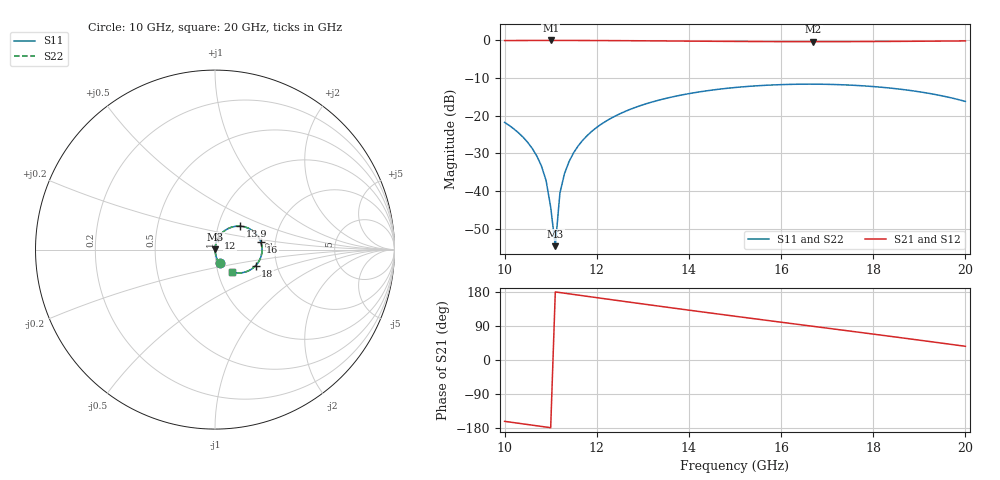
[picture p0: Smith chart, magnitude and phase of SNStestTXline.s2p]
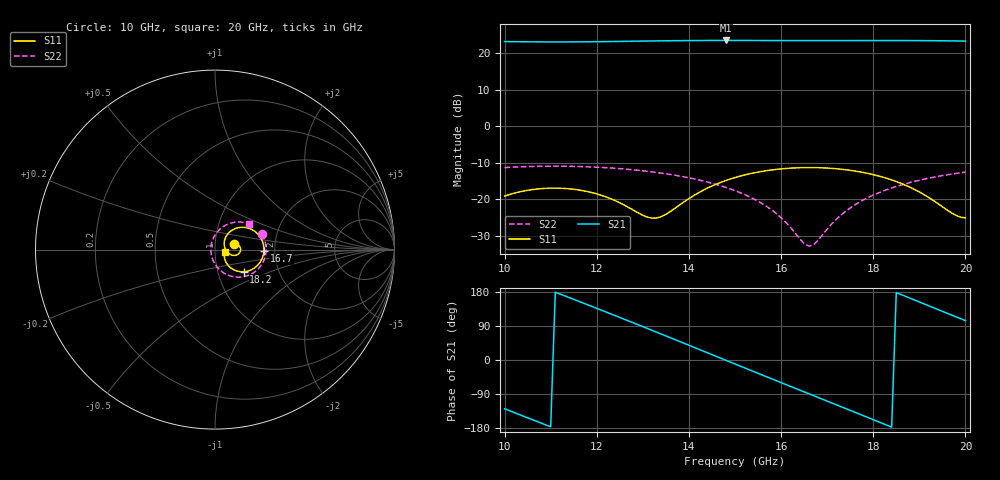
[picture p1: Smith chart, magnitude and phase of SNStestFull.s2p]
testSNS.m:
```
% This script runs a test to make sure that the SNS software works 
% correctly.
%
% Copyright Oliver King, June 2010
% ogk@astro.caltech.edu
%

clear all

%%%%%%%%%%%%%%%%%%%%%%%%%%%%%%%%%%%%%%%%%%%%%%%%%%%%%%%%%%%%%%%%%%%%%%%%%%
% Modify this to point to the directory in which this file is stored:
pth = '~/matlab/SNS/';
%%%%%%%%%%%%%%%%%%%%%%%%%%%%%%%%%%%%%%%%%%%%%%%%%%%%%%%%%%%%%%%%%%%%%%%%%%

addpath([pth 'pointers/']);
addpath([pth 'snsTest/']);

syms a1 b1 c1
S1 = [a1 b1 c1; b1 a1 0; c1 0 a1];
syms c11 c12 c13
cc1 = [c11;c12;c13];
syms a2 b2
S2 = [a2 b2; b2 a2];
syms c21 c22
cc2 = [c21;c22];
syms a3 b3
S3 = [a3 b3; b3 a3];
syms c31 c32
cc3 = [c31;c32];
num = 0;

NI1 = makeNode(); NO1 = makeNode(); NO2 = makeNode();
NC1 = makeNode(); NC2 = makeNode();
P1 = makeNport(); P2 = makeNport(); P3 = makeNport();
P1.S = S1; P1.c = cc1;
P2.S = S2; P2.c = cc2;
P3.S = S3; P3.c = cc3;

connectNode(NI1,[],1,P1,1);

connectNode(NO1,P2,2,[],1);
connectNode(NO2,P3,2,[],1);

connectNode(NC1,P1,2,P2,1);
connectNode(NC2,P1,3,P3,1);

inputs = {NI1};
outputs = {NO1 NO2};
cnodes = {NC1 NC2};
tnodes = {};
    
disp('Calculating equivalent network scattering matrix using two methods:')
disp('    Using Hallbjorner algorithm')
tic
Shall = getScatteringHallbjorner(inputs,outputs,cnodes,tnodes,num);
toc

disp('    Using recursive algorithm')
tic
[Srec,crec] = getScatteringRecursive(inputs,outputs,cnodes,tnodes,num);
toc

disp('Hallbjorner - recursive:')
HmR = simplify(Shall - Srec)

if sum(sum(abs(HmR)))==0
    disp('SNS installation works with algebraic quantities.')
else
    disp('No luck. SNS installation does not work with algebraic quantities.')
end

% Do a test with some real data to see if numerical simulations work:
disp('Performing numerical simulation of this network:')
disp('')
disp('       --       --       --       --       --')
disp('   o--|  |--o--|  |--o--|  |--o--|  |--o--|  |--o')
disp('       --       --       --       --       --')
disp('    TXLine  Attenuator TXLine Amplifier  TXLine')
disp('')
disp('  If your installation works, two plots will appear.')
disp('  The first will show the S-parameters. The SNS points')
disp('  should match the Designer simulations.')
disp('  The second plot shows the input-referenced noise')
disp('  temperature of the amplifier and the cascaded network.')

% Now, read in a bunch of files:
fnTX = 'SNStestTXline.s2p';
fnAmp = 'SNStestAmp.s2p';
fnAtt = 'SNStestAtt.s2p';
fnFULL = 'SNStestFull.s2p';
[ftx,Stx] = importS2P(fnTX);
[famp,Samp] = importS2P(fnAmp);
[fatt,Satt] = importS2P(fnAtt);
[ffull,Sfull] = importS2P(fnFULL);

% Create the network:
% Port 1 <-> TXline - Att - TXline - Amp - TXline <-> Port 2
%   In1        P1  c1  P2 c2  P3  c3  P4 c4 P5    On1
In1 = makeNode(); On1 = makeNode(); cn1 = makeNode();
cn2 = makeNode(); cn3 = makeNode(); cn4 = makeNode();
P1 = makeNport(); P2 = makeNport(); P3 = makeNport();
P4 = makeNport(); P5 = makeNport();

syms c11 c12 c21 c22 c31 c32 c41 c42 c51 c52
c1 = [c11; c12]; c2 = [c21; c22];
c3 = [c31; c32]; c4 = [c41; c42];
c5 = [c51; c52];
P1.S = Stx; P1.c = c1;
P2.S = Satt; P2.c = c2;
P3.S = Stx; P3.c = c3;
P4.S = Samp; P4.c = c4;
P5.S = Stx; P5.c = c5;
connectNode(In1,[],1,P1,1);
connectNode(cn1,P1,2,P2,1);
connectNode(cn2,P2,2,P3,1);
connectNode(cn3,P3,2,P4,1);
connectNode(cn4,P4,2,P5,1);
connectNode(On1,P5,2,[],1);

[S,c] = getScatteringRecursive({In1},{On1},{cn1 cn2 cn3 cn4},{},1);

cvectors = {c1 c2 c3 c4 c5};
Tp = 15; % Assume that everything is at 15 K.
C1 = getNoiseCorrelationMatrix(Stx,Tp);
C2 = getNoiseCorrelationMatrix(Satt,Tp);
C3 = C1;
% simple amp noise model
C4 = getAmplifierNoiseCorrelationMatrix(Samp,Tp,1100);
C5 = C1;
Cmatrices = {C1 C2 C3 C4 C5};
P = getOutputNoise(c(2,1,:),cvectors,Cmatrices);

figure
subplot(2,2,1)
plot(ffull,20*log10(abs( squeeze(Sfull(1,1,:)) )),'k-',...
    ffull,20*log10(abs( squeeze(S(1,1,:)) )),'k*')
xlabel('Freq [GHz]')
ylabel('S11 amp [dB]')
legend('Designer','SNS')
subplot(2,2,3)
plot(ffull,angle(squeeze(Sfull(1,1,:))),'k-',...
    ffull,angle(squeeze(S(1,1,:))),'k*')
xlabel('Freq [GHz]')
ylabel('S11 phase [rad]')
legend('Designer','SNS')
subplot(2,2,2)
plot(ffull,20*log10(abs( squeeze(Sfull(2,1,:)) )),'k-',...
    ffull,20*log10(abs( squeeze(S(2,1,:)) )),'k*')
xlabel('Freq [GHz]')
ylabel('S21 amp [dB]')
legend('Designer','SNS')
subplot(2,2,4)
plot(ffull,angle(squeeze(Sfull(2,1,:))),'k-',...
    ffull,angle(squeeze(S(2,1,:))),'k*')
xlabel('Freq [GHz]')
ylabel('S21 phase [rad]')
legend('Designer','SNS')

% Input-referenced noise temperature is:
T = sum(P./repmat(S(2,1,:).*conj(S(2,1,:)),[size(P,1),1,1]),1);

figure
plot(ffull,squeeze(T),'k-',ffull,squeeze(C4(2,2,:)./(Samp(2,1,:).*conj(Samp(2,1,:)))),'r-')
xlabel('Freq [GHz]')
ylabel('Noise temperature [K]')
legend('Full model noise temp','Amplifier noise temp','Location','NorthEast')
```
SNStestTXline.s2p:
! Touchstone file from project SNStest
! Exported from Ansoft
# GHZ S MA R 50.000000
! Modal data exported
! Port[1] = Port1
! Port[2] = Port2
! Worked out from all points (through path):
!   101 points, 10 GHz to 20 GHz, reference 50 ohm
!   highest |S21| = -0.03 dB at 11 GHz (marker M1); lowest = -0.3 dB at 16.7 GHz (marker M2)
!   group delay of S21, straight-line fit = 44.7 ps
!   lowest |S11| = -54.6 dB at 11.1 GHz (marker M3), VSWR 1.00, Z = 50.1 + j0.164 ohm
!   |S11| at or under -10 dB: start of sweep to end of sweep
!   |S22| runs from -54.6 to -11.6 dB; largest |S21 - S12| = 8e-15
!   S11 on the Smith chart (normalised r, x): 10 GHz: 1.04, -0.16; 12 GHz: 1.03, +0.14; 13.9 GHz: 1.27, +0.34; 16 GHz: 1.67, +0.16; 18 GHz: 1.55, -0.29; 20 GHz: 1.16, -0.30
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10  0.08155 -71.3  0.9937 -161.9  0.9937 -161.9  0.08155 -71.3
11  0.006118 -80.6  0.9967 -178.7  0.9967 -178.7  0.006118 -80.6
11.1  0.001855 62.2  0.9967 179.6  0.9967 179.6  0.001855 62.2
11.3  0.01706 83.4  0.9965 176.3  0.9965 176.3  0.01706 83.4
12  0.07 73.9  0.9941 164.5  0.9941 164.5  0.07 73.9
13.9  0.1913 43.0  0.9777 133.2  0.9777 133.2  0.1913 43.0
15  0.2366 25.5  0.9676 115.5  0.9676 115.5  0.2366 25.5
16  0.2584 9.8  0.9618 99.7  0.9618 99.7  0.2584 9.8
16.7  0.2621 -1.1  0.9607 88.8  0.9607 88.8  0.2621 -1.1
18  0.2436 -21.5  0.9652 68.3  0.9652 68.3  0.2436 -21.5
20  0.1545 -53.4  0.9828 36.1  0.9828 36.1  0.1545 -53.4
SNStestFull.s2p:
! Touchstone file from project SNStest
! Exported from Ansoft
# GHZ S MA R 50.000000
! Modal data exported
! Port[1] = Port1
! Port[2] = Port2
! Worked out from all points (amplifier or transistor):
!   101 points, 10 GHz to 20 GHz, reference 50 ohm
!   highest |S21| = 23.5 dB at 14.8 GHz (marker M1)
!   |S21| within 3 dB of that: start of sweep to end of sweep
!   S11 on the Smith chart (normalised r, x): 10 GHz: 1.23, +0.08; 16.7 GHz: 1.75, -0.03; 18.2 GHz: 1.33, -0.34; 20 GHz: 1.11, -0.03
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10  0.111 17.1  14.42 -128.7  0 0.0  0.2728 18.3
11.3  0.1412 -4.1  14.26 169.5  2.672e-18 99.1  0.2842 -3.7
12.8  0.07092 -12.5  14.58 97.8  1.249e-18 165.6  0.2538 -29.3
13.7  0.07588 44.7  14.82 53.7  2.292e-18 121.6  0.2139 -45.5
14.8  0.1813 42.7  14.94 -0.6  4.068e-18 -34.1  0.146 -67.2
15  0.199 38.7  14.93 -10.5  2.266e-18 9.8  0.1318 -71.6
15.9  0.2575 18.0  14.89 -54.7  2.327e-18 -42.4  0.06387 -98.3
16.7  0.2725 -1.9  14.86 -93.8  6.701e-18 -91.1  0.0239 161.9
18.2  0.2023 -37.6  14.9 -167.3  5.24e-18 -151.4  0.1291 72.5
19  0.1265 -49.9  14.86 153.2  5.757e-18 130.8  0.183 55.7
20  0.05595 -14.6  14.65 103.9  1.195e-18 -7.9  0.2361 37.1
